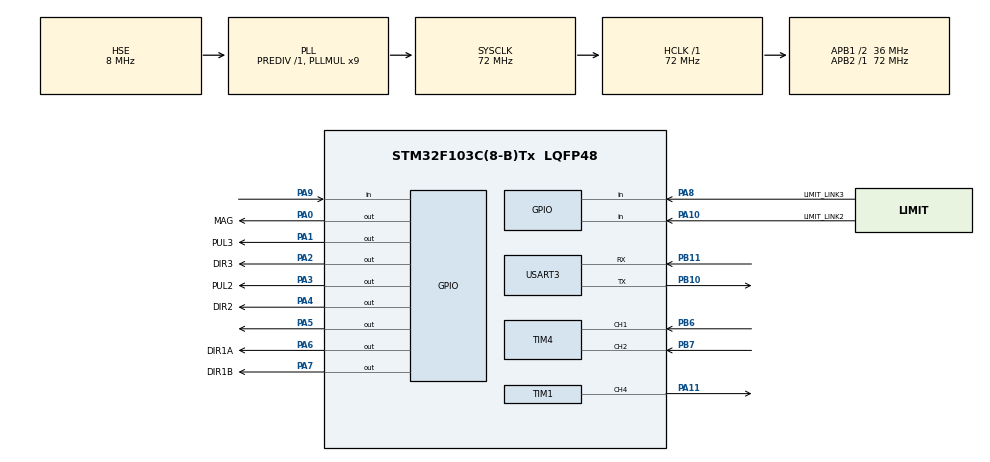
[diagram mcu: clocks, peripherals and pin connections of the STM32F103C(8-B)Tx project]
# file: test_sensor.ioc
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Mcu.Family=STM32F1
Mcu.Name=STM32F103C(8-B)Tx
Mcu.Package=LQFP48
NVIC.PriorityGroup=NVIC_PRIORITYGROUP_4
NVIC.TIM2_IRQn=true\:5\:0\:true\:false\:true\:true\:true\:true
NVIC.TIM3_IRQn=true\:5\:0\:true\:false\:true\:true\:true\:true
NVIC.TIM4_IRQn=true\:0\:0\:false\:false\:true\:true\:true\:true
NVIC.USART3_IRQn=true\:3\:0\:true\:false\:true\:true\:true\:true
PA0-WKUP.GPIO_Label=MAG
PA0-WKUP.Signal=GPIO_Output
PA1.GPIO_Label=PUL3
PA1.GPIO_PuPd=GPIO_PULLUP
PA1.PinState=GPIO_PIN_RESET
PA1.Signal=GPIO_Output
PA10.GPIO_Label=LIMIT_LINK2
PA10.GPIO_PuPd=GPIO_PULLDOWN
PA10.Signal=GPIO_Input
PA11.GPIO_Speed=GPIO_SPEED_FREQ_HIGH
PA11.Signal=S_TIM1_CH4
PA13.Mode=Serial_Wire
PA13.Signal=SYS_JTMS-SWDIO
PA14.Mode=Serial_Wire
PA14.Signal=SYS_JTCK-SWCLK
PA2.GPIO_Label=DIR3
PA2.GPIO_PuPd=GPIO_PULLUP
PA2.Signal=GPIO_Output
PA3.GPIO_Label=PUL2
PA3.GPIO_PuPd=GPIO_PULLUP
PA3.Signal=GPIO_Output
PA4.GPIO_Label=DIR2
PA4.GPIO_PuPd=GPIO_PULLUP
PA4.Signal=GPIO_Output
PA5.Signal=GPIO_Output
PA6.GPIO_Label=DIR1A
PA6.GPIO_PuPd=GPIO_PULLUP
PA6.Signal=GPIO_Output
PA7.GPIO_Label=DIR1B
PA7.Signal=GPIO_Output
PA8.GPIO_Label=LIMIT_LINK3
PA8.GPIO_PuPd=GPIO_PULLDOWN
PA8.Signal=GPIO_Input
PA9.Signal=GPIO_Input
PB10.Mode=Asynchronous
PB10.Signal=USART3_TX
PB11.Mode=Asynchronous
PB11.Signal=USART3_RX
PB6.Signal=S_TIM4_CH1
PB7.Signal=S_TIM4_CH2
PD0-OSC_IN.Mode=HSE-External-Oscillator
PD0-OSC_IN.Signal=RCC_OSC_IN
PD1-OSC_OUT.Mode=HSE-External-Oscillator
PD1-OSC_OUT.Signal=RCC_OSC_OUT
ProjectManager.HeapSize=0x200
ProjectManager.StackSize=0x400
ProjectManager.TargetToolchain=STM32CubeIDE
RCC.AHBFreq_Value=72000000
RCC.APB1CLKDivider=RCC_HCLK_DIV2
RCC.APB1Freq_Value=36000000
RCC.APB1TimFreq_Value=72000000
RCC.APB2Freq_Value=72000000
RCC.APB2TimFreq_Value=72000000
RCC.HCLKFreq_Value=72000000
RCC.PLLMUL=RCC_PLL_MUL9
RCC.PLLSourceVirtual=RCC_PLLSOURCE_HSE
RCC.SYSCLKFreq_VALUE=72000000
RCC.SYSCLKSource=RCC_SYSCLKSOURCE_PLLCLK
RCC.USBFreq_Value=72000000
SH.S_TIM1_CH4.0=TIM1_CH4,PWM Generation4 CH4
SH.S_TIM4_CH1.0=TIM4_CH1,Encoder_Interface
SH.S_TIM4_CH2.0=TIM4_CH2,Encoder_Interface
TIM1.Channel-PWM\ Generation4\ CH4=TIM_CHANNEL_4
TIM1.Period=255
TIM1.Prescaler=3
TIM1.RepetitionCounter=255
TIM2.AutoReloadPreload=TIM_AUTORELOAD_PRELOAD_ENABLE
TIM2.Period=2
TIM2.Prescaler=35999
TIM3.AutoReloadPreload=TIM_AUTORELOAD_PRELOAD_ENABLE
TIM3.Period=3
TIM3.Prescaler=719
TIM4.EncoderMode=TIM_ENCODERMODE_TI12
TIM4.IC1Polarity=TIM_ICPOLARITY_FALLING
TIM4.IC1Prescaler=TIM_ICPSC_DIV4
TIM4.IC2Polarity=TIM_ICPOLARITY_FALLING
TIM4.IC2Prescaler=TIM_ICPSC_DIV4
USART3.VirtualMode=VM_ASYNC
VP_TIM1_VS_ClockSourceINT.Mode=Internal
VP_TIM2_VS_ClockSourceINT.Mode=Internal
VP_TIM3_VS_ClockSourceINT.Mode=Internal
board=custom

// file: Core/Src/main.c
/* USER CODE BEGIN Header */
/**
  ******************************************************************************
  * @file           : main.c
  * @brief          : Main program body
  ******************************************************************************
  * @attention
  *
  * Copyright (c) 2024 STMicroelectronics.
  * All rights reserved.
  *
  * This software is licensed under terms that can be found in the LICENSE file
  * in the root directory of this software component.
  * If no LICENSE file comes with this software, it is provided AS-IS.
  *
  ******************************************************************************
  */
/* USER CODE END Header */
#include "main.h"

/* USER CODE BEGIN Includes */
#include <stdlib.h>
#include <string.h>
#include <stdlib.h>
#include "math.h"
/* USER CODE END Includes */

/* USER CODE BEGIN PTD */
typedef struct {
    float Kp;           // Hệ số P
    float Ki;           // Hệ số I
    float Kd;           // Hệ số D
    float prev_error;   // Lỗi ở lần trước
    float integral;     // Tích phân lỗi
} PIDController;
/* USER CODE END PTD */

/* USER CODE BEGIN PD */
#define BASE_INTERRUPT_PERIOD_MICROS 25
#define FASTEST_PERIOD_MICROS 150 // Fastest pulse period = 250 microseconds
#define HOMING_PULSE_LIMIT  50000

#define MAX_COUNT 65535 // Giá trị tối đa của bộ đếm (16-bit)
#define PULSES_PER_REV 8910 // Số xung mỗi vòng quay
#define HOME_M1 -84.5 // Số xung mỗi vòng quay
/* USER CODE END PD */

TIM_HandleTypeDef htim1;
TIM_HandleTypeDef htim2;
TIM_HandleTypeDef htim3;
TIM_HandleTypeDef htim4;

UART_HandleTypeDef huart3;

/* USER CODE BEGIN PV */
float angle1, angle2, angle3 = 0.0, error = 0;

int angle11, angle21, angle31 = 0;
int HOME = 0;

// Define counters for each motor
int countPulseL1 = 0;
int countPulseL2 = 0;
int countPulseL3 = 0;

int8_t a,b,c = 0;
float d = 0;
float e = 0, f = 0,g = 0,h =0,i=0,p=0,m=0,z=0;
int dir1, dir2, dir3 = 1;
float a3Ratio = 0;

int dt = 0;
int delay = 0;

float angles[18];

float angle1p1 = 0.0;
float angle2p1 = 0.0;
float angle3p1 = 0.0;

float angle1p2 = 0.0;
float angle2p2 = 0.0;
float angle3p2 = 0.0;

float angle1p3 = 0.0;
float angle2p3 = 0.0;
float angle3p3 = 0.0;

float angle1p4 = 0.0;
float angle2p4 = 0.0;
float angle3p4 = 0.0;

float angle1p5 = 0.0;
float angle2p5 = 0.0;
float angle3p5 = 0.0;

float angle1pt = 0.0;
float angle2pt = 0.0;
float angle3pt = 0.0;

float angle1err = 0.0;
float angle2err = 0.0;
float angle3err = 0.0;

//const float alpha = 0.5; // Adjust alpha as needed (e.g., 0.1 for strong smoothing)
//float filtered_angle1 = 0.0; // Initial filtered value

// Soft counters and periods
int softCounter1 = 0;
int softCounter2 = 0;
int softCounter3 = 0;

int periodMotor1 = 0;
int periodMotor2 = 0;
int periodMotor3 = 0;

float target_angle_1 = 0.0;
float target_angle_2 = 70.0;
float target_angle_3 = -135.0;
float target_angle_1_temp = 1;
float target_angle_2_temp = 1;
float target_angle_3_temp = 1;

int steps_motor_1 = 0;
int steps_motor_2 = 0;
int steps_motor_3 = 0;

char tx_data[30] = "abcd";
//char rx_data[21];  // Buffer for incoming data (adjust size as needed)
uint8_t rx_data[127];

float rx_angle1 = 0.0, rx_angle2 = 70.0, rx_angle3 = -153.0;
int receiveComplete;

float setpoint = -25.0f;  // Góc đích (90 độ)
float current_angle = 0.0f;
float delta_time = 0.01f; // Chu kỳ vòng lặp (10 ms)
int m1speed = 0;

uint16_t duty =100, count = 0;

volatile int16_t prev_count = 0; // Giá trị bộ đếm trước đó
volatile int16_t delta = 0;      // Số xung thay đổi
volatile int32_t total_count = 0; // Tổng số xung (có thể âm)
volatile float angle = 0.0;      // Góc quay hiện tại
int home_count = 0;
int need_to_set_home = 0;
int prvstate = 0, curstate = 0;

PIDController pid;

/* USER CODE END PV */

void SystemClock_Config(void);
static void MX_GPIO_Init(void);
static void MX_TIM2_Init(void);
static void MX_TIM3_Init(void);
static void MX_USART3_UART_Init(void);
static void MX_TIM1_Init(void);
static void MX_TIM4_Init(void);
/* USER CODE BEGIN PFP */
void pulseCreater(void);
void angleControl(PIDController *pid, float target_angle_1, float target_angle_2, float target_angle_3);
void update_current_angle(int motor_index, float steps,int direction);
void checkLimitSwitches(void) ;
void setHomeAngles();
/* USER CODE END PFP */

/* USER CODE BEGIN 0 */
void HAL_TIM_PeriodElapsedCallback(TIM_HandleTypeDef *htim)
{
	if (htim->Instance==htim2.Instance)
	{
		if ( HOME == 1){
			dt++;
		}
	}

	if (htim->Instance == htim3.Instance)
	{
		// Handle Motor 2
		if (countPulseL2 > 0) {
			softCounter2++;  // Increment soft counter for motor 2
			if (softCounter2 >= periodMotor2)
			{  // If soft counter reaches the desired period
				HAL_GPIO_TogglePin(GPIOA, PUL2_Pin);  // Toggle Motor 2 pin (generate pulse)
				softCounter2 = 0;  // Reset the soft counter for motor 2
				countPulseL2--;    // Decrement the pulse count
				update_current_angle(2,1.0,dir2);
			}
		} else {
			HAL_GPIO_WritePin(GPIOA, PUL2_Pin, GPIO_PIN_RESET);  // Stop Motor 2
		}
		// Handle Motor 3
		if (countPulseL3 > 0) {
			softCounter3++;  // Increment soft counter for motor 3
			if (softCounter3 >= periodMotor3)
			{  // If soft counter reaches the desired period
				HAL_GPIO_TogglePin(GPIOA, PUL3_Pin);  // Toggle Motor 3 pin (generate pulse)
				softCounter3 = 0;  // Reset the soft counter for motor 3
				countPulseL3--;    // Decrement the pulse count
				update_current_angle(3,1.0, dir3);
			}
		} else {
			HAL_GPIO_WritePin(GPIOA, PUL3_Pin, GPIO_PIN_RESET);  // Stop Motor 3
		}
	}
}

void HAL_TIM_IC_CaptureCallback(TIM_HandleTypeDef *htim){
	uint16_t counter = __HAL_TIM_GET_COUNTER(htim);
	count = (int16_t)counter;

	// Kiểm tra nếu cần đặt lại "home"
	if (need_to_set_home) {

		need_to_set_home = 0; // Đặt lại flag
	}
	delta = count - prev_count;

	// Xử lý trường hợp tràn
	if (delta > (MAX_COUNT / 2)) {
	    delta -= (MAX_COUNT + 1); // Tràn ngược
	} else if (delta < -(MAX_COUNT / 2)) {
	    delta += (MAX_COUNT + 1); // Tràn thuận
	}

	// Cập nhật tổng số xung
	total_count += delta;
	// Tính góc quay (đếm cả cạnh lên và xuống, chia 2 để ra số xung thực tế)
	angle1 = (float)total_count * 360.0f / PULSES_PER_REV/4.0;
	// Cập nhật giá trị bộ đếm trước đó
	prev_count = count;
	// Đảm bảo góc quay trong khoảng [-180, 180)
	if (angle1 < -180.0f) {
	    angle1 += 360.0f;
	} else if (angle1 >= 180.0f) {
	    angle1 -= 360.0f;
	}
}

// Hàm khởi tạo PID
void PID_Init(PIDController *pid, float Kp, float Ki, float Kd) {
    pid->Kp = Kp;
    pid->Ki = Ki;
    pid->Kd = Kd;
    pid->prev_error = 0.0f;
    pid->integral = 0.0f;
}

// Hàm tính toán PID
float PID_Compute(PIDController *pid, float setpoint, float current_angle, float delta_time) {
    // Tính toán lỗi
    float error = setpoint - current_angle;
    float Ki = 0;
    if (fabs(error) > 5.0){
    	Ki = pid->Ki/100.0;
    }else{
    	Ki = pid->Ki;
    }

    // Đảm bảo lỗi nằm trong khoảng [-180, 180] (xử lý vòng tròn 360 độ)
    if (error > 180.0f) {
        error -= 360.0f;
    } else if (error < -180.0f) {
        error += 360.0f;
    }

    // Tích phân lỗi (chỉ tích lũy khi delta_time > 0)
    if (delta_time > 0) {
        pid->integral += error * delta_time;
    }

    // Đạo hàm lỗi (chỉ tính khi delta_time > 0)
    float derivative = 0.0f;
    if (delta_time > 0) {
        derivative = (error - pid->prev_error) / delta_time;
    }

    // Tính tín hiệu điều khiển
    float output = pid->Kp * error + Ki * pid->integral + pid->Kd * derivative;

    // Lưu lỗi hiện tại cho lần tính sau
    pid->prev_error = error;

    if (output > 115.0f) {
		output = 115.0f;
	} else if (output < -115.0f) {
		output =-115.0f;
	}

    return output;
}

void Motor1_SetSpeed(float output) {
    if (output > 0) {
        // Quay thuận
    	HAL_GPIO_WritePin(GPIOA, DIR1A_Pin, GPIO_PIN_RESET);
		HAL_GPIO_WritePin(GPIOA, DIR1B_Pin, GPIO_PIN_SET);
		 __HAL_TIM_SET_COMPARE(&htim1, TIM_CHANNEL_4,output);
    } else {
        // Quay ngược
    	HAL_GPIO_WritePin(GPIOA, DIR1A_Pin, GPIO_PIN_SET);
		HAL_GPIO_WritePin(GPIOA, DIR1B_Pin, GPIO_PIN_RESET);
		__HAL_TIM_SET_COMPARE(&htim1, TIM_CHANNEL_4,fabs(output));
    }
}

void update_current_angle(int motor_index, float steps, int direction) {
    float angle_change = steps * 360.0 / (43840.0 * 2.0); // Calculate the change in angle

    // If direction is negative, reverse the angle change
    if (direction < 0) {
        angle_change = -angle_change;
    }
    switch (motor_index){

        case 2:
            angle2 += angle_change; // Update current angle for motor 2
            angle3 -= angle_change;
            break;
        case 3:
            angle3 += angle_change; // Update current angle for motor 3
            break;
    }
}

int calculate_steps(float current_angle, float target_angle)
{
    // Calculate the angular difference
    float angular_difference ;
    float temp;

    temp = target_angle - current_angle;
    if (temp > 0){
    	i = 1;
    }else{
    	i = -1;
    }
	if (fabs(temp) == 0){
		angular_difference = 0;
	}else{
		angular_difference = (target_angle) - current_angle;
	}

    // Convert angular difference to steps
	int steps_needed = (((angular_difference) / 360.0) * 43840.0 * 2.0);
    // Return the absolute number of steps (stepper motors can't move negative steps)
    return steps_needed;
}

int maxSteps(int steps_motor_2, int steps_motor_3)
{
    int max_value = steps_motor_2;  // Assume motor 1 has the maximum steps

    if (steps_motor_2 > max_value) {
        max_value = steps_motor_2;  // Update if motor 2 has more steps
    }

    if (steps_motor_3 > max_value) {
        max_value = steps_motor_3;  // Update if motor 3 has more steps
    }

    return max_value;  // Return the largest number of steps
}

void angleControl(PIDController *pid, float target_angle_1, float target_angle_2, float target_angle_3) {
	// Calculate the required steps for each motor based on current and target angles
	int steps_motor_2 = calculate_steps(angle2, target_angle_2);
	int steps_motor_3 = calculate_steps(angle3, target_angle_3);

	// Set the pulse counts for each motor
	countPulseL2 = abs(steps_motor_2) ;
	error = angle3 - target_angle_3;

	float output = PID_Compute(pid, target_angle_1, angle1, 0.01);
	Motor1_SetSpeed(output);

	if (target_angle_2 >= angle2) {
		dir2 = 1;
		HAL_GPIO_WritePin(GPIOA, DIR2_Pin, GPIO_PIN_SET);
	} else {
		dir2 = -1;
		HAL_GPIO_WritePin(GPIOA, DIR2_Pin, GPIO_PIN_RESET);
	}

	if (steps_motor_2 == 0){
		dir2 =1;
	}else if (steps_motor_1 == 0){
		dir3 = -1;
	}

	if (target_angle_3 > angle3 && dir2 == 1) {
		h = 1;
		dir3 = 1;
		f = steps_motor_3;
		countPulseL3 = abs(steps_motor_3);
		steps_motor_3 = countPulseL3;
		HAL_GPIO_WritePin(GPIOA, DIR3_Pin, GPIO_PIN_RESET);
	}
	else if (target_angle_3 < angle3 && dir2 == 1) {
		// Motor 3 moves counterclockwise when Motor 2 is moving counterclockwise
		h = 2;
		dir3 = -1;
		countPulseL3 =abs(steps_motor_3);
		steps_motor_3 = countPulseL3;
		HAL_GPIO_WritePin(GPIOA, DIR3_Pin, GPIO_PIN_SET);
	} else if (target_angle_3 < angle3 && dir2 == -1) {
		// Motor 3 moves counterclockwise when Motor 2 is moving counterclockwise
		h = 3;
		dir3 = -1;
		countPulseL3 =abs(steps_motor_3);
		steps_motor_3 = countPulseL3;
		HAL_GPIO_WritePin(GPIOA, DIR3_Pin, GPIO_PIN_SET);
	}
	else if (target_angle_3 > angle3 && dir2 == -1) {
		// Motor 3 moves counterclockwise when Motor 2 is moving counterclockwise
		h = 4;
		dir3 = 1;
		f = steps_motor_3;
		countPulseL3 = abs( steps_motor_3);
		steps_motor_3 = countPulseL3;
		HAL_GPIO_WritePin(GPIOA, DIR3_Pin, GPIO_PIN_RESET);
	} else {
		// Maintain angle3 in sync with angle2’s direction
		h =5;
		dir3 = dir2;
		HAL_GPIO_WritePin(GPIOA, DIR3_Pin, dir3 == 1 ? GPIO_PIN_RESET : GPIO_PIN_SET);
	}

	// Determine the maximum steps needed to synchronize the motors
	int max_steps = maxSteps(abs(steps_motor_2), abs(steps_motor_3));

	// Calculate the pulse periods for each motor based on the maximum steps
	periodMotor2 = (int)(((float)max_steps / abs(steps_motor_2)) * (FASTEST_PERIOD_MICROS / BASE_INTERRUPT_PERIOD_MICROS)) + 2;
	periodMotor3 = (int)(((float)max_steps / abs(steps_motor_3)) * (FASTEST_PERIOD_MICROS / BASE_INTERRUPT_PERIOD_MICROS)) + 2;

}

void autoHomeMotors(void) {
    // Set initial movement direction for homing (assumes motors move towards the limit switches)
    HAL_GPIO_WritePin(GPIOA, DIR2_Pin, GPIO_PIN_SET); // Move Motor 2 in the homing direction
    HAL_GPIO_WritePin(GPIOA, DIR3_Pin, GPIO_PIN_SET); // Move Motor 3 in the homing direction

    // Start moving the motors
    m1speed = -20;
    countPulseL2 = HOMING_PULSE_LIMIT;  // Arbitrary large value for homing
    countPulseL3 = HOMING_PULSE_LIMIT;  // Arbitrary large value for homing

	periodMotor2 = 10;
	periodMotor3 = 10;
	int i = 0;

    // Wait until all limit switches are triggered
    while (a == 0 || b == 0 || c == 0 || home_count < 1)
    {
        checkLimitSwitches(); // Continuously check the limit switches
    }
    while (home_count == 1){
    	HAL_GPIO_WritePin(GPIOA, DIR3_Pin, GPIO_PIN_RESET);

    	if (countPulseL3 == 0 && i == 0){
    		countPulseL3 = 5000;
    		i = 1;
    	}

    	if (countPulseL3 == 0 && i == 1){
			home_count = 2;
			a = 0;
			b=0;
			c=0;
			countPulseL3 = 50000;
		}
    }
    while (a == 0 || b == 0 || c == 0 ) {
		checkLimitSwitches(); // Continuously check the limit switches
	}

    // Set the home angle once all limit switches are activated

    setHomeAngles();
    while (fabs(angle1) > 1.0){
		angleControl(&pid, 	0.0, 87.0, -149.0);
		HAL_Delay(0.01);
	}
	HOME = 1;
}

void setHomeAngles(void) {
    // Set the current angle to zero or a specific home angle as needed
	need_to_set_home = 1;
	TIM4->CNT = (int16_t)((HOME_M1 * 2.0 * PULSES_PER_REV * 2.0f) / 360.0f);
	angle1 = (HOME_M1);
    angle2 = 88.0; // Home position for Motor 2
    angle3 = -149.0; // Home position for Motor 3

}

void checkLimitSwitches(void) {
    // Check and handle limit switch 1
    if (HAL_GPIO_ReadPin(GPIOA, GPIO_PIN_10) == GPIO_PIN_SET) {
        a = 1;
        m1speed = 0;
    }
    curstate = HAL_GPIO_ReadPin(GPIOA, GPIO_PIN_10);
    if ( curstate == 1 && prvstate == 0)
	{
		TIM4->CNT = (int16_t)((HOME_M1 * 2.0 * PULSES_PER_REV * 2.0f) / 360.0f);
		angle1 = (HOME_M1);
	}

    prvstate = curstate;
    Motor1_SetSpeed(m1speed);
    // Check and handle limit switch 2, ensuring that it only works if limit switch 3 is not active
    if (HAL_GPIO_ReadPin(GPIOA, GPIO_PIN_9) == GPIO_PIN_SET) {
        b = 1;
        countPulseL2 = 0;  // Stop Motor 2 if limit switch 2 is triggered
    }

    if (a == 1 && b == 1 && c == 1 && home_count != 1){
    	home_count = 1;

	}

    // Check and handle limit switch 3
    if (HAL_GPIO_ReadPin(GPIOA, GPIO_PIN_8) == GPIO_PIN_SET) {
        c = 1;

		periodMotor3 = periodMotor2;
		countPulseL3 = countPulseL2;  // Stop Motor 3 if limit switch 3 is triggered

        HAL_GPIO_WritePin(GPIOA, DIR3_Pin, GPIO_PIN_RESET);  // Stop motor direction for M3
    } else {
        HAL_GPIO_WritePin(GPIOA, DIR3_Pin, GPIO_PIN_SET);  // Set motor direction for M3
    }

}
void decode_angles(const char *input, float *angle1, float *angle2, float *angle3) {
	// Decode angle1
	    int sign1 = (input[0] == '1') ? 1 : -1;  // Check sign at position 0
	    *angle1 = sign1 * ((input[1] - '0') * 100 + (input[2] - '0') * 10 + (input[3] - '0')
	                      + (input[4] - '0') * 0.1 + (input[5] - '0') * 0.01);

	    // Decode angle2
	    int sign2 = (input[7] == '1') ? 1 : -1;  // Check sign at position 7
	    *angle2 = sign2 * ((input[8] - '0') * 100 + (input[9] - '0') * 10 + (input[10] - '0')
	                      + (input[11] - '0') * 0.1 + (input[12] - '0') * 0.01);

	    // Decode angle3
	    int sign3 = (input[14] == '1') ? 1 : -1;  // Check sign at position 14
	    *angle3 = sign3 * ((input[15] - '0') * 100 + (input[16] - '0') * 10 + (input[17] - '0')
	                      + (input[18] - '0') * 0.1 + (input[19] - '0') * 0.01);
}

void decode_angles_auto(const char *input, float *angles) {
    /*
     * Giải mã 18 góc từ chuỗi mã hóa.
     * `input` là chuỗi chứa dữ liệu mã hóa.
     * `angles` là mảng float để lưu giá trị góc đã giải mã.
     */

    for (int i = 0; i < 18; i++) {
        int offset = i * 7;  // Mỗi góc chiếm 7 ký tự
        int sign = (input[offset] == '1') ? 1 : -1;  // Xác định dấu (1: dương, 0: âm)

        // Tính góc bằng cách giải mã phần nguyên và phần thập phân
        angles[i] = sign * ((input[offset + 1] - '0') * 100 +
                            (input[offset + 2] - '0') * 10 +
                            (input[offset + 3] - '0') +
                            (input[offset + 4] - '0') * 0.1 +
                            (input[offset + 5] - '0') * 0.01 +
                            (input[offset + 6] - '0') * 0.001);
    }
}

void HAL_UART_RxCpltCallback(UART_HandleTypeDef *huart)
{
  /* Prevent unused argument(s) compilation warning */
  UNUSED(huart);

  /* NOTE : This function should not be modified, when the callback is needed,
            the HAL_UART_RxCpltCallback can be implemented in the user file.
   */
  if (huart->Instance == huart3.Instance){
	  // Ensure received data is null-terminated

	  //rx_data[29] = '\0';

	  // Ensure the received data is null-terminated
	  // Set the flag indicating data is ready for use
	  receiveComplete = 1;

	  // Restart reception for the next incoming data
	  HAL_UART_Receive_IT(&huart3, (uint8_t *)rx_data, 127);
	  decode_angles_auto(rx_data,&angles);
		angle1p1 = angles[0];
		angle2p1 = angles[1];
		angle3p1 = angles[2];

		angle1p2 = angles[3];
		angle2p2 = angles[4];
		angle3p2 = angles[5];

		angle1p3 = angles[6];
		angle2p3 = angles[7];
		angle3p3 = angles[8];

		angle1p4 = angles[9];
		angle2p4 = angles[10];
		angle3p4 = angles[11];

		angle1p5 = angles[12];
		angle2p5 = angles[13];
		angle3p5 = angles[14];

		angle1pt = angles[15];
		angle2pt = angles[16];
		angle3pt = angles[17];
		g = 0;

//	  decode_angles(rx_data, &rx_angle1, &rx_angle2, &rx_angle3);

  }
}
/* USER CODE END 0 */

int main(void)
{

  /* MCU Configuration--------------------------------------------------------*/

  /* Reset of all peripherals, Initializes the Flash interface and the Systick. */
  HAL_Init();

  /* Configure the system clock */
  SystemClock_Config();

  /* Initialize all configured peripherals */
  MX_GPIO_Init();
  MX_TIM2_Init();
  MX_TIM3_Init();
  MX_USART3_UART_Init();
  MX_TIM1_Init();
  MX_TIM4_Init();
  /* USER CODE BEGIN 2 */
  HAL_TIM_Base_Start_IT(&htim2);
  HAL_TIM_Base_Start_IT(&htim3);

  HAL_UART_Receive_IT(&huart3, (uint8_t *)rx_data, 127);

  HAL_TIM_Encoder_Start_IT(&htim4, TIM_CHANNEL_ALL);
  HAL_TIM_PWM_Start(&htim1, TIM_CHANNEL_4);

  // Biến góc đích và góc hiện tại

//  PID_Init(&pid, 70.0f, 0.0f, 15.0f);  // Tùy chỉnh các hệ số Kp, Ki, Kd
  PID_Init(&pid, 2.0f, 0.0f, 0.0f);
  autoHomeMotors();
  PID_Init(&pid, 70.0f, 1.0f, 15.0f);

  /* USER CODE END 2 */

  /* Infinite loop */
   while (1)
  {

    /* USER CODE BEGIN 3 */

	   if (dt > 10)
	   {

		   if (receiveComplete == 1){
			   g+=10;

			   if ( g >= 76000){
				   target_angle_1 = 0.0;
					target_angle_2 = 80.0;
					target_angle_3 = -135.0;
				}

			   else if (g > 73000){
					target_angle_1 = angle1pt;
					target_angle_2 = angle2pt;
					target_angle_3 = angle3pt;
					if (fabs(angle1 - target_angle_1) < 0.5 &&
					   fabs(angle2 - target_angle_2) < 0.5 &&
					   fabs(angle3 - target_angle_3) < 0.5) {
					   HAL_GPIO_WritePin(GPIOA, MAG_Pin, GPIO_PIN_RESET);} // Thả vật

				}else if (g > 69000){
					target_angle_1 = 0.0;
					target_angle_2 = 77.0;
					target_angle_3 = -106.0;
					HAL_GPIO_WritePin(GPIOA, MAG_Pin, GPIO_PIN_SET);

				}else if (g > 65000){
					target_angle_1 = angle1p5;
					target_angle_2 = angle2p5;
					target_angle_3 = angle3p5;
					HAL_GPIO_WritePin(GPIOA, MAG_Pin, GPIO_PIN_SET);

				}else if (g > 61000){
					target_angle_1 = 0.0;
					target_angle_2 = 77.0;
					target_angle_3 = -106.0;

				}else if (g > 57000){
						target_angle_1 = angle1pt;
						target_angle_2 = angle2pt;
						target_angle_3 = angle3pt;
						if (fabs(angle1 - target_angle_1) < 0.5 &&
						   fabs(angle2 - target_angle_2) < 0.5 &&
						   fabs(angle3 - target_angle_3) < 0.5) {
						   HAL_GPIO_WritePin(GPIOA, MAG_Pin, GPIO_PIN_RESET);} // Thả vật

			   	}else if (g > 53000){
			   		target_angle_1 = 0.0;
					target_angle_2 = 77.0;
					target_angle_3 = -106.0;
					HAL_GPIO_WritePin(GPIOA, MAG_Pin, GPIO_PIN_SET);

			   	}else if (g > 49000){
					target_angle_1 = angle1p4;
					target_angle_2 = angle2p4;
					target_angle_3 = angle3p4;
					HAL_GPIO_WritePin(GPIOA, MAG_Pin, GPIO_PIN_SET);

			   	}else if (g > 45000){
					target_angle_1 = 0.0;
					target_angle_2 = 77.0;
					target_angle_3 = -106.0;

				}else if (g > 41000){
					target_angle_1 = angle1pt;
					target_angle_2 = angle2pt;
					target_angle_3 = angle3pt;
					if (fabs(angle1 - target_angle_1) < 0.5 &&
					   fabs(angle2 - target_angle_2) < 0.5 &&
					   fabs(angle3 - target_angle_3) < 0.5) {
					   HAL_GPIO_WritePin(GPIOA, MAG_Pin, GPIO_PIN_RESET);} // Thả vật

				}else if (g > 37000){
					target_angle_1 = 0.0;
					target_angle_2 = 77.0;
					target_angle_3 = -106.0;
					HAL_GPIO_WritePin(GPIOA, MAG_Pin, GPIO_PIN_SET);

				}else if (g > 33000){
					target_angle_1 = angle1p3;
					target_angle_2 = angle2p3;
					target_angle_3 = angle3p3;
					HAL_GPIO_WritePin(GPIOA, MAG_Pin, GPIO_PIN_SET);

				}else if (g > 29000){
					target_angle_1 = 0.0;
					target_angle_2 = 77.0;
					target_angle_3 = -106.0;

				}else if (g > 25000){
					target_angle_1 = angle1pt;
					target_angle_2 = angle2pt;
					target_angle_3 = angle3pt;
					// Kiểm tra nếu đã đạt góc mục tiêu
				   if (fabs(angle1 - target_angle_1) < 0.5 &&
					   fabs(angle2 - target_angle_2) < 0.5 &&
					   fabs(angle3 - target_angle_3) < 0.5) {
					   HAL_GPIO_WritePin(GPIOA, MAG_Pin, GPIO_PIN_RESET);} // Thả vật

				}else if (g > 21000){
					target_angle_1 = 0.0;
					target_angle_2 = 77.0;
					target_angle_3 = -106.0;
					HAL_GPIO_WritePin(GPIOA, MAG_Pin, GPIO_PIN_SET);

				}else if (g > 17000){
					target_angle_1 = angle1p2;
					target_angle_2 = angle2p2;
					target_angle_3 = angle3p2;
					HAL_GPIO_WritePin(GPIOA, MAG_Pin, GPIO_PIN_SET);

				}else if (g > 13000){
					target_angle_1 = 0.0;
					target_angle_2 = 77.0;
					target_angle_3 = -106.0;

				}else if (g > 9000){
					target_angle_1 = angle1pt;
					target_angle_2 = angle2pt;
					target_angle_3 = angle3pt;
					if (fabs(angle1 - target_angle_1) < 0.5 &&
					   fabs(angle2 - target_angle_2) < 0.5 &&
					   fabs(angle3 - target_angle_3) < 0.5) {
					   HAL_GPIO_WritePin(GPIOA, MAG_Pin, GPIO_PIN_RESET);} // Thả vật
				}else if (g > 5000){
					target_angle_1 = 0.0;
					target_angle_2 = 77.0;
					target_angle_3 = -106.0;
					HAL_GPIO_WritePin(GPIOA, MAG_Pin, GPIO_PIN_SET);

				}else {
					target_angle_1 = angle1p1;
					target_angle_2 = angle2p1;
					target_angle_3 = angle3p1;
					HAL_GPIO_WritePin(GPIOA, MAG_Pin, GPIO_PIN_SET);
				}

		   angleControl(&pid, target_angle_1, target_angle_2, target_angle_3);
		   angle1err = fabs(angle1 - target_angle_1);
		   angle2err = fabs(angle2 - target_angle_2);
		   angle3err = fabs(angle3 - target_angle_3);
		   }

//		   HAL_UART_Transmit(&huart3, tx_data, sizeof(tx_data), 10);
		   dt = 0;
	   }
	   if (HOME == 0){
		   angleControl(&pid, 	0.0, 87.0, -149.0);
	   }

  }
  /* USER CODE END 3 */
}

void SystemClock_Config(void)
{
  RCC_OscInitTypeDef RCC_OscInitStruct = {0};
  RCC_ClkInitTypeDef RCC_ClkInitStruct = {0};

  /** Initializes the RCC Oscillators according to the specified parameters
  * in the RCC_OscInitTypeDef structure.
  */
  RCC_OscInitStruct.OscillatorType = RCC_OSCILLATORTYPE_HSE;
  RCC_OscInitStruct.HSEState = RCC_HSE_ON;
  RCC_OscInitStruct.HSEPredivValue = RCC_HSE_PREDIV_DIV1;
  RCC_OscInitStruct.HSIState = RCC_HSI_ON;
  RCC_OscInitStruct.PLL.PLLState = RCC_PLL_ON;
  RCC_OscInitStruct.PLL.PLLSource = RCC_PLLSOURCE_HSE;
  RCC_OscInitStruct.PLL.PLLMUL = RCC_PLL_MUL9;
  if (HAL_RCC_OscConfig(&RCC_OscInitStruct) != HAL_OK)
  {
    Error_Handler();
  }

  /** Initializes the CPU, AHB and APB buses clocks
  */
  RCC_ClkInitStruct.ClockType = RCC_CLOCKTYPE_HCLK|RCC_CLOCKTYPE_SYSCLK
                              |RCC_CLOCKTYPE_PCLK1|RCC_CLOCKTYPE_PCLK2;
  RCC_ClkInitStruct.SYSCLKSource = RCC_SYSCLKSOURCE_PLLCLK;
  RCC_ClkInitStruct.AHBCLKDivider = RCC_SYSCLK_DIV1;
  RCC_ClkInitStruct.APB1CLKDivider = RCC_HCLK_DIV2;
  RCC_ClkInitStruct.APB2CLKDivider = RCC_HCLK_DIV1;

  if (HAL_RCC_ClockConfig(&RCC_ClkInitStruct, FLASH_LATENCY_2) != HAL_OK)
  {
    Error_Handler();
  }
}

static void MX_TIM1_Init(void)
{

  TIM_ClockConfigTypeDef sClockSourceConfig = {0};
  TIM_MasterConfigTypeDef sMasterConfig = {0};
  TIM_OC_InitTypeDef sConfigOC = {0};
  TIM_BreakDeadTimeConfigTypeDef sBreakDeadTimeConfig = {0};

  htim1.Instance = TIM1;
  htim1.Init.Prescaler = 3;
  htim1.Init.CounterMode = TIM_COUNTERMODE_UP;
  htim1.Init.Period = 255;
  htim1.Init.ClockDivision = TIM_CLOCKDIVISION_DIV1;
  htim1.Init.RepetitionCounter = 255;
  htim1.Init.AutoReloadPreload = TIM_AUTORELOAD_PRELOAD_DISABLE;
  if (HAL_TIM_Base_Init(&htim1) != HAL_OK)
  {
    Error_Handler();
  }
  sClockSourceConfig.ClockSource = TIM_CLOCKSOURCE_INTERNAL;
  if (HAL_TIM_ConfigClockSource(&htim1, &sClockSourceConfig) != HAL_OK)
  {
    Error_Handler();
  }
  if (HAL_TIM_PWM_Init(&htim1) != HAL_OK)
  {
    Error_Handler();
  }
  sMasterConfig.MasterOutputTrigger = TIM_TRGO_RESET;
  sMasterConfig.MasterSlaveMode = TIM_MASTERSLAVEMODE_DISABLE;
  if (HAL_TIMEx_MasterConfigSynchronization(&htim1, &sMasterConfig) != HAL_OK)
  {
    Error_Handler();
  }
  sConfigOC.OCMode = TIM_OCMODE_PWM1;
  sConfigOC.Pulse = 0;
  sConfigOC.OCPolarity = TIM_OCPOLARITY_HIGH;
  sConfigOC.OCFastMode = TIM_OCFAST_DISABLE;
  sConfigOC.OCIdleState = TIM_OCIDLESTATE_RESET;
  sConfigOC.OCNIdleState = TIM_OCNIDLESTATE_RESET;
  if (HAL_TIM_PWM_ConfigChannel(&htim1, &sConfigOC, TIM_CHANNEL_4) != HAL_OK)
  {
    Error_Handler();
  }
  sBreakDeadTimeConfig.OffStateRunMode = TIM_OSSR_DISABLE;
  sBreakDeadTimeConfig.OffStateIDLEMode = TIM_OSSI_DISABLE;
  sBreakDeadTimeConfig.LockLevel = TIM_LOCKLEVEL_OFF;
  sBreakDeadTimeConfig.DeadTime = 0;
  sBreakDeadTimeConfig.BreakState = TIM_BREAK_DISABLE;
  sBreakDeadTimeConfig.BreakPolarity = TIM_BREAKPOLARITY_HIGH;
  sBreakDeadTimeConfig.AutomaticOutput = TIM_AUTOMATICOUTPUT_DISABLE;
  if (HAL_TIMEx_ConfigBreakDeadTime(&htim1, &sBreakDeadTimeConfig) != HAL_OK)
  {
    Error_Handler();
  }
  HAL_TIM_MspPostInit(&htim1);

}

static void MX_TIM2_Init(void)
{

  TIM_ClockConfigTypeDef sClockSourceConfig = {0};
  TIM_MasterConfigTypeDef sMasterConfig = {0};

  htim2.Instance = TIM2;
  htim2.Init.Prescaler = 35999;
  htim2.Init.CounterMode = TIM_COUNTERMODE_UP;
  htim2.Init.Period = 2;
  htim2.Init.ClockDivision = TIM_CLOCKDIVISION_DIV1;
  htim2.Init.AutoReloadPreload = TIM_AUTORELOAD_PRELOAD_ENABLE;
  if (HAL_TIM_Base_Init(&htim2) != HAL_OK)
  {
    Error_Handler();
  }
  sClockSourceConfig.ClockSource = TIM_CLOCKSOURCE_INTERNAL;
  if (HAL_TIM_ConfigClockSource(&htim2, &sClockSourceConfig) != HAL_OK)
  {
    Error_Handler();
  }
  sMasterConfig.MasterOutputTrigger = TIM_TRGO_RESET;
  sMasterConfig.MasterSlaveMode = TIM_MASTERSLAVEMODE_DISABLE;
  if (HAL_TIMEx_MasterConfigSynchronization(&htim2, &sMasterConfig) != HAL_OK)
  {
    Error_Handler();
  }

}

static void MX_TIM3_Init(void)
{

  TIM_ClockConfigTypeDef sClockSourceConfig = {0};
  TIM_MasterConfigTypeDef sMasterConfig = {0};

  htim3.Instance = TIM3;
  htim3.Init.Prescaler = 719;
  htim3.Init.CounterMode = TIM_COUNTERMODE_UP;
  htim3.Init.Period = 3;
  htim3.Init.ClockDivision = TIM_CLOCKDIVISION_DIV1;
  htim3.Init.AutoReloadPreload = TIM_AUTORELOAD_PRELOAD_ENABLE;
  if (HAL_TIM_Base_Init(&htim3) != HAL_OK)
  {
    Error_Handler();
  }
  sClockSourceConfig.ClockSource = TIM_CLOCKSOURCE_INTERNAL;
  if (HAL_TIM_ConfigClockSource(&htim3, &sClockSourceConfig) != HAL_OK)
  {
    Error_Handler();
  }
  sMasterConfig.MasterOutputTrigger = TIM_TRGO_RESET;
  sMasterConfig.MasterSlaveMode = TIM_MASTERSLAVEMODE_DISABLE;
  if (HAL_TIMEx_MasterConfigSynchronization(&htim3, &sMasterConfig) != HAL_OK)
  {
    Error_Handler();
  }

}

static void MX_TIM4_Init(void)
{

  TIM_Encoder_InitTypeDef sConfig = {0};
  TIM_MasterConfigTypeDef sMasterConfig = {0};

  htim4.Instance = TIM4;
  htim4.Init.Prescaler = 0;
  htim4.Init.CounterMode = TIM_COUNTERMODE_UP;
  htim4.Init.Period = 65535;
  htim4.Init.ClockDivision = TIM_CLOCKDIVISION_DIV1;
  htim4.Init.AutoReloadPreload = TIM_AUTORELOAD_PRELOAD_DISABLE;
  sConfig.EncoderMode = TIM_ENCODERMODE_TI12;
  sConfig.IC1Polarity = TIM_ICPOLARITY_FALLING;
  sConfig.IC1Selection = TIM_ICSELECTION_DIRECTTI;
  sConfig.IC1Prescaler = TIM_ICPSC_DIV4;
  sConfig.IC1Filter = 0;
  sConfig.IC2Polarity = TIM_ICPOLARITY_FALLING;
  sConfig.IC2Selection = TIM_ICSELECTION_DIRECTTI;
  sConfig.IC2Prescaler = TIM_ICPSC_DIV4;
  sConfig.IC2Filter = 0;
  if (HAL_TIM_Encoder_Init(&htim4, &sConfig) != HAL_OK)
  {
    Error_Handler();
  }
  sMasterConfig.MasterOutputTrigger = TIM_TRGO_RESET;
  sMasterConfig.MasterSlaveMode = TIM_MASTERSLAVEMODE_DISABLE;
  if (HAL_TIMEx_MasterConfigSynchronization(&htim4, &sMasterConfig) != HAL_OK)
  {
    Error_Handler();
  }

}

static void MX_USART3_UART_Init(void)
{

  huart3.Instance = USART3;
  huart3.Init.BaudRate = 115200;
  huart3.Init.WordLength = UART_WORDLENGTH_8B;
  huart3.Init.StopBits = UART_STOPBITS_1;
  huart3.Init.Parity = UART_PARITY_NONE;
  huart3.Init.Mode = UART_MODE_TX_RX;
  huart3.Init.HwFlowCtl = UART_HWCONTROL_NONE;
  huart3.Init.OverSampling = UART_OVERSAMPLING_16;
  if (HAL_UART_Init(&huart3) != HAL_OK)
  {
    Error_Handler();
  }

}

static void MX_GPIO_Init(void)
{
  GPIO_InitTypeDef GPIO_InitStruct = {0};

  /* GPIO Ports Clock Enable */
  __HAL_RCC_GPIOD_CLK_ENABLE();
  __HAL_RCC_GPIOA_CLK_ENABLE();
  __HAL_RCC_GPIOB_CLK_ENABLE();

  /*Configure GPIO pin Output Level */
  HAL_GPIO_WritePin(GPIOA, MAG_Pin|PUL3_Pin|DIR3_Pin|PUL2_Pin
                          |DIR2_Pin|GPIO_PIN_5|DIR1A_Pin|DIR1B_Pin, GPIO_PIN_RESET);

  /*Configure GPIO pins : MAG_Pin PA5 DIR1B_Pin */
  GPIO_InitStruct.Pin = MAG_Pin|GPIO_PIN_5|DIR1B_Pin;
  GPIO_InitStruct.Mode = GPIO_MODE_OUTPUT_PP;
  GPIO_InitStruct.Pull = GPIO_NOPULL;
  GPIO_InitStruct.Speed = GPIO_SPEED_FREQ_LOW;
  HAL_GPIO_Init(GPIOA, &GPIO_InitStruct);

  /*Configure GPIO pins : PUL3_Pin DIR3_Pin PUL2_Pin DIR2_Pin
                           DIR1A_Pin */
  GPIO_InitStruct.Pin = PUL3_Pin|DIR3_Pin|PUL2_Pin|DIR2_Pin
                          |DIR1A_Pin;
  GPIO_InitStruct.Mode = GPIO_MODE_OUTPUT_PP;
  GPIO_InitStruct.Pull = GPIO_PULLUP;
  GPIO_InitStruct.Speed = GPIO_SPEED_FREQ_LOW;
  HAL_GPIO_Init(GPIOA, &GPIO_InitStruct);

  /*Configure GPIO pins : LIMIT_LINK3_Pin LIMIT_LINK2_Pin */
  GPIO_InitStruct.Pin = LIMIT_LINK3_Pin|LIMIT_LINK2_Pin;
  GPIO_InitStruct.Mode = GPIO_MODE_INPUT;
  GPIO_InitStruct.Pull = GPIO_PULLDOWN;
  HAL_GPIO_Init(GPIOA, &GPIO_InitStruct);

  /*Configure GPIO pin : PA9 */
  GPIO_InitStruct.Pin = GPIO_PIN_9;
  GPIO_InitStruct.Mode = GPIO_MODE_INPUT;
  GPIO_InitStruct.Pull = GPIO_NOPULL;
  HAL_GPIO_Init(GPIOA, &GPIO_InitStruct);

}

void Error_Handler(void)
{
  __disable_irq();
  while (1)
  {
  }
}
